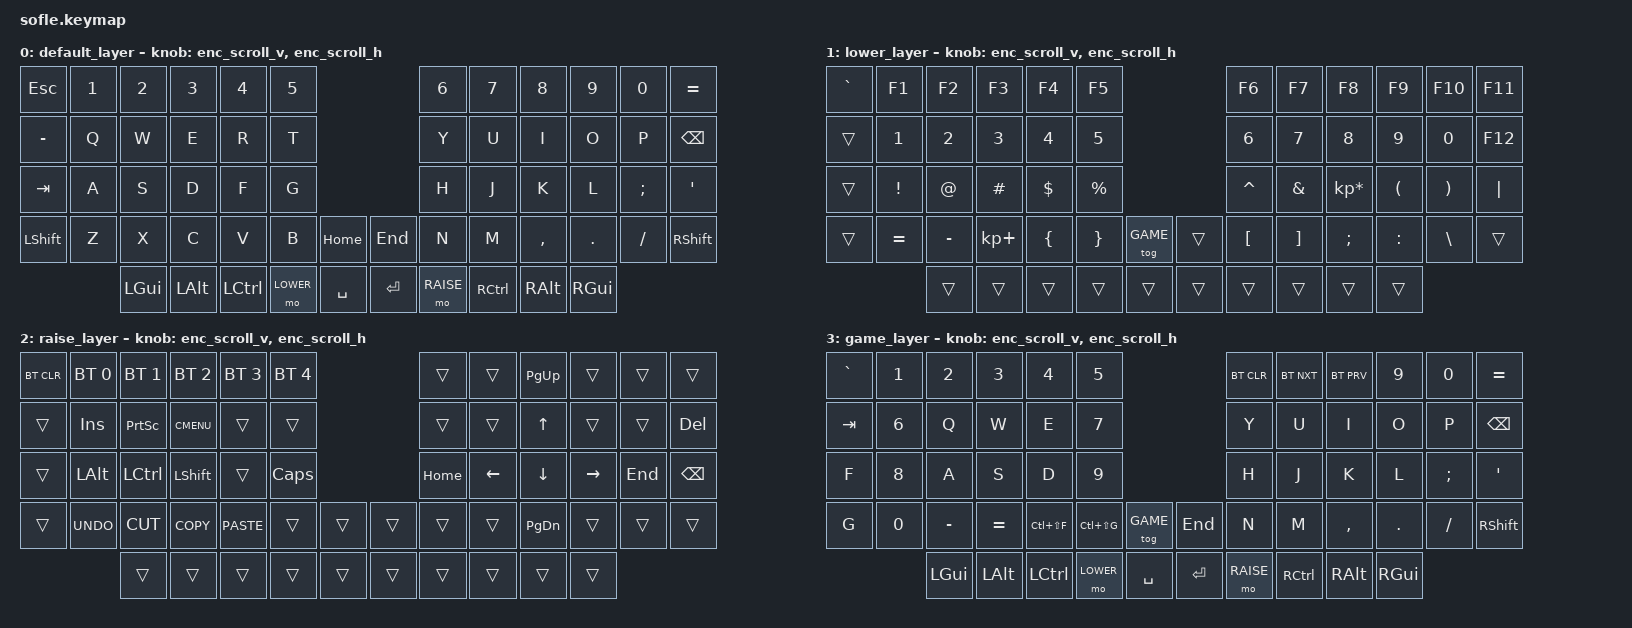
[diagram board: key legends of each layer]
/*
 * Copyright (c) 2020 The ZMK Contributors
 *
 * SPDX-License-Identifier: MIT
 */

#include <behaviors.dtsi>
#include <dt-bindings/zmk/keys.h>
#include <dt-bindings/zmk/bt.h>
#include <dt-bindings/zmk/pointing.h>

#define DEFAULT 0
#define LOWER 1
#define RAISE 2
#define GAME 3

/*
 * One mouse-wheel notch per encoder detent. Swap the two bindings of a
 * knob below if it scrolls the wrong way.
 */
#define ENC_SCROLL_VAL 100

/ {
    behaviors {
        /*
         * ZMK's &msc ramps up while held and sends its first report after
         * 16ms, so the 5ms tap an encoder detent makes scrolls nothing.
         * This copy sends one report 10ms after the press at a fixed
         * speed: 100 units/s * 10ms = 1 notch. The 15ms tap below ends it
         * before a second report.
         */
        enc_scroll: enc_scroll {
            compatible = "zmk,behavior-input-two-axis";
            #binding-cells = <1>;
            x-input-code = <INPUT_REL_HWHEEL>;
            y-input-code = <INPUT_REL_WHEEL>;
            trigger-period-ms = <10>;
            time-to-max-speed-ms = <1>;
            acceleration-exponent = <0>;
        };

        /* Left knob: scroll up / down */
        enc_scroll_v: enc_scroll_v {
            compatible = "zmk,behavior-sensor-rotate";
            #sensor-binding-cells = <0>;
            bindings = <&enc_scroll MOVE_Y(ENC_SCROLL_VAL)>, <&enc_scroll MOVE_Y(-ENC_SCROLL_VAL)>;
            tap-ms = <15>;
        };

        /* Right knob: scroll left / right */
        enc_scroll_h: enc_scroll_h {
            compatible = "zmk,behavior-sensor-rotate";
            #sensor-binding-cells = <0>;
            bindings = <&enc_scroll MOVE_X(-ENC_SCROLL_VAL)>, <&enc_scroll MOVE_X(ENC_SCROLL_VAL)>;
            tap-ms = <15>;
        };
    };

    enc_scroll_listener: enc_scroll_listener {
        compatible = "zmk,input-listener";
        device = <&enc_scroll>;
    };

    keymap {
        compatible = "zmk,keymap";

        default_layer {
// ------------------------------------------------------------------------------------------------------------
// |  ESC  |  1  |  2  |  3   |  4   |  5   |                  |  6   |  7    |  8    |  9   |   0   |   =   |
// |  -    |  Q  |  W  |  E   |  R   |  T   |                  |  Y   |  U    |  I    |  O   |   P   | BKSPC |
// |  TAB  |  A  |  S  |  D   |  F   |  G   |                  |  H   |  J    |  K    |  L   |   ;   |   '   |
// | SHIFT |  Z  |  X  |  C   |  V   |  B   |  HOME |  | END   |  N   |  M    |  ,    |  .   |   /   | SHIFT |
//               | GUI | ALT  | CTRL | LOWER| SPACE |  | ENTER | RAISE| CTRL  | ALT   | GUI  |
            bindings = <
&kp ESC   &kp N1 &kp N2   &kp N3   &kp N4    &kp N5                         &kp N6    &kp N7    &kp N8    &kp N9   &kp N0   &kp EQUAL
&kp MINUS &kp Q  &kp W    &kp E    &kp R     &kp T                          &kp Y     &kp U     &kp I     &kp O    &kp P    &kp BSPC
&kp TAB   &kp A  &kp S    &kp D    &kp F     &kp G                          &kp H     &kp J     &kp K     &kp L    &kp SEMI &kp SQT
&kp LSHFT &kp Z  &kp X    &kp C    &kp V     &kp B     &kp HOME   &kp END   &kp N     &kp M     &kp COMMA &kp DOT  &kp FSLH &kp RSHFT
                 &kp LGUI &kp LALT &kp LCTRL &mo LOWER &kp SPACE  &kp ENTER &mo RAISE &kp RCTRL &kp RALT  &kp RGUI
            >;

            sensor-bindings = <&enc_scroll_v &enc_scroll_h>;
        };

        lower_layer {
// TODO: Some binds are waiting for shifted keycode support.
// ------------------------------------------------------------------------------------------------------------
// | `     |  F1 |  F2 |  F3  |  F4  |  F5  |                   |  F6  |  F7   |  F8   |  F9  |  F10  |  F11  |
// |       |   1 |   2 |   3  |   4  |   5  |                   |   6  |   7   |   8   |   9  |    0  |  F12  |
// |       |  !  |  @  |  #   |  $   |  %   |                   |  ^   |  &    |  *    |  (   |   )   |   |   |
// |       |  =  |  -  |  +   |  {   |  }   |  GAME  |  |       |  [   |  ]    |  ;    |  :   |   \   |       |
//               |     |      |      |      |        |  |       |      |       |       |      |
            bindings = <
&kp GRAVE &kp F1    &kp F2    &kp F3      &kp F4   &kp F5                     &kp F6    &kp F7   &kp F8          &kp F9    &kp F10   &kp F11
&trans    &kp N1    &kp N2    &kp N3      &kp N4   &kp N5                     &kp N6    &kp N7   &kp N8          &kp N9    &kp N0    &kp F12
&trans    &kp EXCL  &kp AT    &kp HASH    &kp DLLR &kp PRCNT                  &kp CARET &kp AMPS &kp KP_MULTIPLY &kp LPAR  &kp RPAR  &kp PIPE
&trans    &kp EQUAL &kp MINUS &kp KP_PLUS &kp LBRC &kp RBRC  &tog GAME &trans &kp LBKT  &kp RBKT &kp SEMI        &kp COLON &kp BSLH  &trans
                    &trans    &trans      &trans   &trans    &trans    &trans &trans    &trans   &trans          &trans
            >;

            sensor-bindings = <&enc_scroll_v &enc_scroll_h>;
        };

        raise_layer {
// ------------------------------------------------------------------------------------------------------------
// |BTCLR| BT1  | BT2  |  BT3  |  BT4  |  BT5 |                |      |      | PGUP  |      |       |       |
// |     | INS  | PSCR | GUI   |       |      |                |      |      |   ^   |      |       | DEL   |
// |     | ALT  | CTRL | SHIFT |       | CAPS |                | HOME |   <- |   v   |  ->  | END   | BKSPC |
// |     | UNDO | CUT  | COPY  | PASTE |      |      |  |      |      |      | PGDN  |      |       |       |
//              |      |       |       |      |      |  |      |      |      |       |      |
            bindings = <
&bt BT_CLR &bt BT_SEL 0 &bt BT_SEL 1 &bt BT_SEL 2 &bt BT_SEL 3 &bt BT_SEL 4               &trans    &trans   &kp PG_UP   &trans    &trans  &trans
&trans     &kp INS      &kp PSCRN    &kp K_CMENU  &trans       &trans                     &trans    &trans   &kp UP      &trans    &trans  &kp DEL
&trans     &kp LALT     &kp LCTRL    &kp LSHFT    &trans       &kp CLCK                   &kp HOME  &kp LEFT &kp DOWN    &kp RIGHT &kp END &kp BSPC
&trans     &kp K_UNDO   &kp K_CUT    &kp K_COPY   &kp K_PASTE  &trans       &trans &trans &trans    &trans   &kp PG_DN   &trans    &trans  &trans
                        &trans       &trans       &trans       &trans       &trans &trans &trans    &trans   &trans   &trans
            >;

            sensor-bindings = <&enc_scroll_v &enc_scroll_h>;
        };

        game_layer {
// ------------------------------------------------------------------------------------------------------------
// |   `   |  1  |  2  |  3   |  4   |  5   |                  |BT_CLR| BT_NXT| BT_PRV|  9   |   0   |   =   |
// |  TAB  |  6  |  Q  |  W   |  E   |  7   |                  |  Y   |  U    |  I    |  O   |   P   | BKSPC |
// |  F    |  8  |  A  |  S   |  D   |  9   |                  |  H   |  J    |  K    |  L   |   ;   |   '   |
// |  G    |  0  |  -  |  =   |  CSF |  CSG |  GAME |  | END   |  N   |  M    |  ,    |  .   |   /   | SHIFT |
//               | GUI | ALT  | CTRL | LOWER| SPACE |  | ENTER | RAISE| CTRL  | ALT   | GUI  |
            bindings = <
&kp GRAVE &kp N1    &kp N2    &kp N3    &kp N4        &kp N5                             &bt BT_CLR &bt BT_NXT    &bt BT_PRV    &kp N9   &kp N0   &kp EQUAL
&kp TAB   &kp N6    &kp Q     &kp W     &kp E         &kp N7                             &kp Y     &kp U     &kp I     &kp O    &kp P    &kp BSPC
&kp F     &kp N8    &kp A     &kp S     &kp D         &kp N9                             &kp H     &kp J     &kp K     &kp L    &kp SEMI &kp SQT
&kp G     &kp N0    &kp MINUS &kp EQUAL &kp LC(LS(F)) &kp LC(LS(G)) &tog GAME &kp END   &kp N     &kp M     &kp COMMA &kp DOT  &kp FSLH &kp RSHFT
                    &kp LGUI  &kp LALT  &kp LCTRL     &mo LOWER     &kp SPACE &kp ENTER &mo RAISE &kp RCTRL &kp RALT  &kp RGUI
            >;

            sensor-bindings = <&enc_scroll_v &enc_scroll_h>;
        };
    };
};
